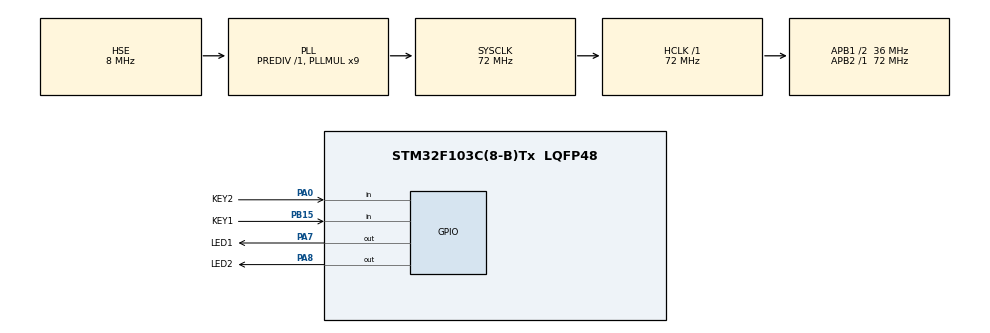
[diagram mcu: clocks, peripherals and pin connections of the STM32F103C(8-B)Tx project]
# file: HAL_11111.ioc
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Mcu.Family=STM32F1
Mcu.Name=STM32F103C(8-B)Tx
Mcu.Package=LQFP48
NVIC.PriorityGroup=NVIC_PRIORITYGROUP_4
PA0-WKUP.GPIO_Label=KEY2
PA0-WKUP.GPIO_PuPd=GPIO_PULLDOWN
PA0-WKUP.Signal=GPIO_Input
PA13.Mode=Serial_Wire
PA13.Signal=SYS_JTMS-SWDIO
PA14.Mode=Serial_Wire
PA14.Signal=SYS_JTCK-SWCLK
PA7.GPIO_Label=LED1
PA7.GPIO_ModeDefaultOutputPP=GPIO_MODE_OUTPUT_OD
PA7.GPIO_PuPd=GPIO_NOPULL
PA7.PinState=GPIO_PIN_SET
PA7.Signal=GPIO_Output
PA8.GPIO_Label=LED2
PA8.GPIO_ModeDefaultOutputPP=GPIO_MODE_OUTPUT_OD
PA8.GPIO_PuPd=GPIO_NOPULL
PA8.PinState=GPIO_PIN_SET
PA8.Signal=GPIO_Output
PB15.GPIO_Label=KEY1
PB15.Signal=GPIO_Input
PC14-OSC32_IN.Mode=LSE-External-Oscillator
PC14-OSC32_IN.Signal=RCC_OSC32_IN
PC15-OSC32_OUT.Mode=LSE-External-Oscillator
PC15-OSC32_OUT.Signal=RCC_OSC32_OUT
PD0-OSC_IN.Mode=HSE-External-Oscillator
PD0-OSC_IN.Signal=RCC_OSC_IN
PD1-OSC_OUT.Mode=HSE-External-Oscillator
PD1-OSC_OUT.Signal=RCC_OSC_OUT
ProjectManager.HeapSize=0x200
ProjectManager.StackSize=0x400
ProjectManager.TargetToolchain=MDK-ARM V5.32
RCC.AHBFreq_Value=72000000
RCC.APB1CLKDivider=RCC_HCLK_DIV2
RCC.APB1Freq_Value=36000000
RCC.APB1TimFreq_Value=72000000
RCC.APB2Freq_Value=72000000
RCC.APB2TimFreq_Value=72000000
RCC.HCLKFreq_Value=72000000
RCC.PLLMUL=RCC_PLL_MUL9
RCC.PLLSourceVirtual=RCC_PLLSOURCE_HSE
RCC.SYSCLKFreq_VALUE=72000000
RCC.SYSCLKSource=RCC_SYSCLKSOURCE_PLLCLK
RCC.USBFreq_Value=72000000
board=custom

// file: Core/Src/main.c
/* USER CODE BEGIN Header */
/**
  ******************************************************************************
  * @file           : main.c
  * @brief          : Main program body
  ******************************************************************************
  * @attention
  *
  * Copyright (c) 2024 STMicroelectronics.
  * All rights reserved.
  *
  * This software is licensed under terms that can be found in the LICENSE file
  * in the root directory of this software component.
  * If no LICENSE file comes with this software, it is provided AS-IS.
  *
  ******************************************************************************
  */
/* USER CODE END Header */
#include "main.h"
#include "gpio.h"

/* USER CODE BEGIN Includes */
#include "bsp_key.h"
#include "bsp_led.h"
/* USER CODE END Includes */

/* USER CODE BEGIN PTD */
void Button1_Callback(void *btn);
void Button2_Callback(void *btn);
/* USER CODE END PTD */

void SystemClock_Config(void);

/* USER CODE BEGIN 0 */
// 按键结构体
Button_t button1;
Button_t button2;

/* USER CODE END 0 */

int main(void)
{

  /* MCU Configuration--------------------------------------------------------*/

  /* Reset of all peripherals, Initializes the Flash interface and the Systick. */
  HAL_Init();

  /* Configure the system clock */
  SystemClock_Config();

  /* Initialize all configured peripherals */
  MX_GPIO_Init();

  /* Infinite loop */
  /* USER CODE BEGIN WHILE */
		// 创建按钮
    Button_Create("Button1", &button1, Read_Key1_Level, 0); // 按键1，触发电平为低
    Button_Create("Button2", &button2, Read_Key2_Level, 1); // 按键2，触发电平为高

    // 绑定按键事件

		Button_Attach(&button1, BUTTON_DOUBLE, Button1_Callback);

		Button_Attach(&button2, BUTTON_UP, Button2_Callback);
  while (1)
  {
			  Button_Process(); // 定期处理按键状态
        HAL_Delay(20);    // 适当的延时
    /* USER CODE END WHILE */

  }
}

void SystemClock_Config(void)
{
  RCC_OscInitTypeDef RCC_OscInitStruct = {0};
  RCC_ClkInitTypeDef RCC_ClkInitStruct = {0};

  /** Initializes the RCC Oscillators according to the specified parameters
  * in the RCC_OscInitTypeDef structure.
  */
  RCC_OscInitStruct.OscillatorType = RCC_OSCILLATORTYPE_HSE;
  RCC_OscInitStruct.HSEState = RCC_HSE_ON;
  RCC_OscInitStruct.HSEPredivValue = RCC_HSE_PREDIV_DIV1;
  RCC_OscInitStruct.HSIState = RCC_HSI_ON;
  RCC_OscInitStruct.PLL.PLLState = RCC_PLL_ON;
  RCC_OscInitStruct.PLL.PLLSource = RCC_PLLSOURCE_HSE;
  RCC_OscInitStruct.PLL.PLLMUL = RCC_PLL_MUL9;
  if (HAL_RCC_OscConfig(&RCC_OscInitStruct) != HAL_OK)
  {
    Error_Handler();
  }

  /** Initializes the CPU, AHB and APB buses clocks
  */
  RCC_ClkInitStruct.ClockType = RCC_CLOCKTYPE_HCLK|RCC_CLOCKTYPE_SYSCLK
                              |RCC_CLOCKTYPE_PCLK1|RCC_CLOCKTYPE_PCLK2;
  RCC_ClkInitStruct.SYSCLKSource = RCC_SYSCLKSOURCE_PLLCLK;
  RCC_ClkInitStruct.AHBCLKDivider = RCC_SYSCLK_DIV1;
  RCC_ClkInitStruct.APB1CLKDivider = RCC_HCLK_DIV2;
  RCC_ClkInitStruct.APB2CLKDivider = RCC_HCLK_DIV1;

  if (HAL_RCC_ClockConfig(&RCC_ClkInitStruct, FLASH_LATENCY_2) != HAL_OK)
  {
    Error_Handler();
  }
}

/* USER CODE BEGIN 4 */

// 按键1的回调函数
void Button1_Callback(void *btn) {
     bsp_LedToggle(1); // 按键1单击，翻转LED1状态
}

// 按键2的回调函数
void Button2_Callback(void *btn) {
  bsp_LedToggle(2);
}

/* USER CODE END 4 */

void Error_Handler(void)
{
  __disable_irq();
  while (1)
  {
  }
}
